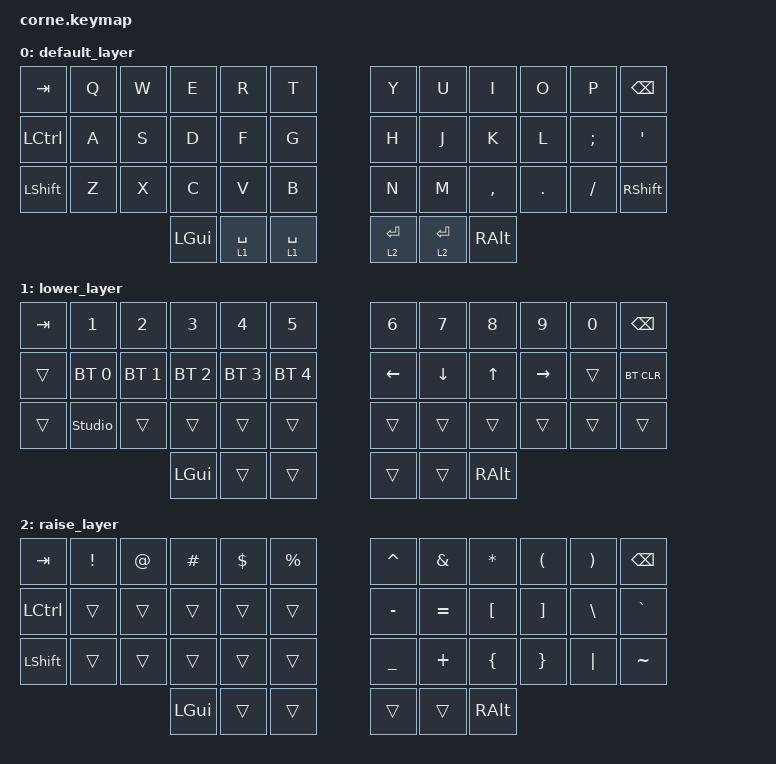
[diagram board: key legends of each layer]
/*
 * Copyright (c) 2020 The ZMK Contributors
 *
 * SPDX-License-Identifier: MIT
 */

#include <behaviors.dtsi>
#include <dt-bindings/zmk/bt.h>
#include <dt-bindings/zmk/keys.h>

/ {
    combos {
        compatible = "zmk,combos";

        jk-esc {
            bindings = <&kp ESCAPE>;
            key-positions = <19 20>;
            layers = <0>;
            timeout-ms = <50>;
        };

        paren-l {
            bindings = <&kp LEFT_PARENTHESIS>;
            key-positions = <4 5>;
            layers = <0>;
        };

        paren-r {
            bindings = <&kp RIGHT_PARENTHESIS>;
            key-positions = <6 7>;
            layers = <0>;
        };

        bracket-l {
            bindings = <&kp LEFT_BRACKET>;
            key-positions = <16 17>;
            layers = <0>;
        };

        bracket-r {
            bindings = <&kp RIGHT_BRACKET>;
            key-positions = <18 19>;
            layers = <0>;
        };

        brace-l {
            bindings = <&kp LEFT_BRACE>;
            key-positions = <28 29>;
            layers = <0>;
        };

        brace-r {
            bindings = <&kp RIGHT_BRACE>;
            key-positions = <30 31>;
            layers = <0>;
        };
    };

    keymap {
        compatible = "zmk,keymap";

        default_layer {
            // -----------------------------------------------------------------------------------------
            // |  TAB |  Q  |  W  |  E  |  R  |  T  |   |  Y  |  U   |  I  |  O  |  P  | BKSP |
            // | CTRL |  A  |  S  |  D  |  F  |  G  |   |  H  |  J   |  K  |  L  |  ;  |  '   |
            // | SHFT |  Z  |  X  |  C  |  V  |  B  |   |  N  |  M   |  ,  |  .  |  /  | ESC  |
            //                    | GUI | LWR | SPC |   | ENT | RSE  | ALT |

            bindings = <
&kp TAB    &kp Q  &kp W  &kp E     &kp R        &kp T          &kp Y      &kp U         &kp I      &kp O    &kp P     &kp BSPC
&kp LCTRL  &kp A  &kp S  &kp D     &kp F        &kp G          &kp H      &kp J         &kp K      &kp L    &kp SEMI  &kp SQT
&kp LSHFT  &kp Z  &kp X  &kp C     &kp V        &kp B          &kp N      &kp M         &kp COMMA  &kp DOT  &kp FSLH  &kp RIGHT_SHIFT
                         &kp LGUI  &lt 1 SPACE  &lt 1 SPACE    &lt 2 RET  &lt 2 RETURN  &kp RALT
            >;
        };

        lower_layer {
            // -----------------------------------------------------------------------------------------
            // |  TAB |  1  |  2  |  3  |  4  |  5  |   |  6  |  7  |  8  |  9  |  0  | BKSP |
            // | BTCLR| BT1 | BT2 | BT3 | BT4 | BT5 |   | LFT | DWN |  UP | RGT |     |      |
            // | SHFT |     |     |     |     |     |   |     |     |     |     |     |      |
            //                    | GUI |     | SPC |   | ENT |     | ALT |

            bindings = <
&kp TAB  &kp N1          &kp N2        &kp N3        &kp N4        &kp N5          &kp N6    &kp N7    &kp N8    &kp N9     &kp N0  &kp BSPC
&trans   &bt BT_SEL 0    &bt BT_SEL 1  &bt BT_SEL 2  &bt BT_SEL 3  &bt BT_SEL 4    &kp LEFT  &kp DOWN  &kp UP    &kp RIGHT  &trans  &bt BT_CLR
&trans   &studio_unlock  &trans        &trans        &trans        &trans          &trans    &trans    &trans    &trans     &trans  &trans
                                       &kp LGUI      &trans        &trans          &trans    &trans    &kp RALT
            >;
        };

        raise_layer {
            // -----------------------------------------------------------------------------------------
            // |  TAB |  !  |  @  |  #  |  $  |  %  |   |  ^  |  &  |  *  |  (  |  )  | BKSP |
            // | CTRL |     |     |     |     |     |   |  -  |  =  |  [  |  ]  |  \  |  `   |
            // | SHFT |     |     |     |     |     |   |  _  |  +  |  {  |  }  | "|" |  ~   |
            //                    | GUI |     | SPC |   | ENT |     | ALT |

            bindings = <
&kp TAB    &kp EXCL  &kp AT  &kp HASH  &kp DLLR  &kp PRCNT    &kp CARET  &kp AMPS   &kp ASTRK  &kp LPAR  &kp RPAR  &kp BSPC
&kp LCTRL  &trans    &trans  &trans    &trans    &trans       &kp MINUS  &kp EQUAL  &kp LBKT   &kp RBKT  &kp BSLH  &kp GRAVE
&kp LSHFT  &trans    &trans  &trans    &trans    &trans       &kp UNDER  &kp PLUS   &kp LBRC   &kp RBRC  &kp PIPE  &kp TILDE
                             &kp LGUI  &trans    &trans       &trans     &trans     &kp RALT
            >;
        };
    };
};
